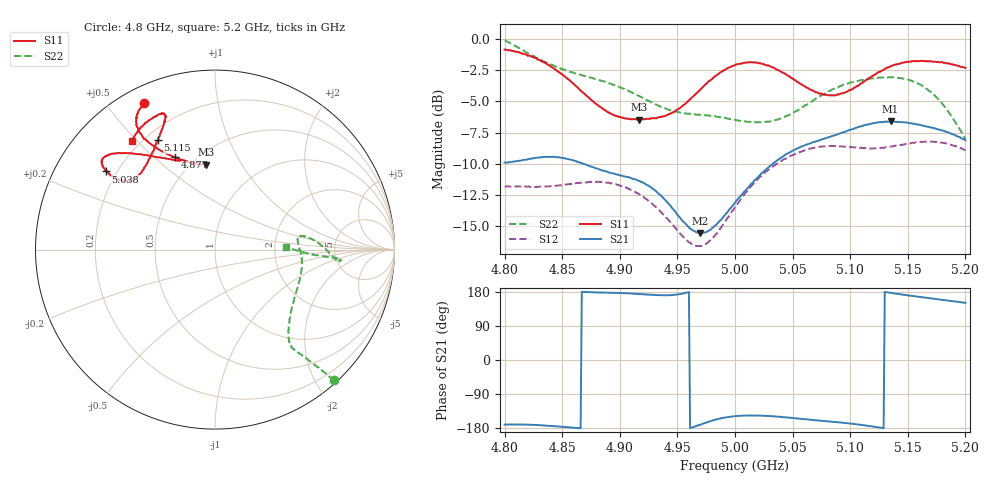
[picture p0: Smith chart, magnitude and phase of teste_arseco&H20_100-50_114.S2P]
! Network Analyzer HP8722D
! Hewlett-Packard
! Data name: Linha & Wilkinson
! Saver's name: Rodrigo Anjos
! Comments: Teste da utilização de aquisição
! continua pelo VNA HP8722D
! Time and date: 6/5/2025 13:31
!  Frequency  S11  S21  S12  S22
# HZ  S  MA R 50
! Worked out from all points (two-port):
!   401 points, 4.8 GHz to 5.2 GHz, reference 50 ohm
!   highest |S21| = -6.60 dB at 5.135 GHz (marker M1); lowest = -15.6 dB at 4.97 GHz (marker M2)
!   |S21| within 3 dB of the highest: 4.822 GHz to 4.854 GHz (31.92 MHz wide, 0.66 % of centre); 5.039 GHz to end of sweep
!   lowest |S11| = -6.5 dB at 4.917 GHz (marker M3), VSWR 2.81, Z = 29.1 + j35.6 ohm
!   |S11| at or under -10 dB: nowhere
!   |S22| runs from -8.0 to -0.1 dB; largest |S21 - S12| = 0.83
!   S11 on the Smith chart (normalised r, x): 4.8 GHz: 0.07, +0.62; 4.877 GHz: 0.39, +0.58; 5.038 GHz: 0.16, +0.31; 5.115 GHz: 0.25, +0.58; 5.2 GHz: 0.17, +0.48
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4.8e9  0.9048 115.9  0.3201 -170.6  0.257 -86.1  0.9843 -47.6
4.832e9  0.8124 122.3  0.3358 -172.4  0.2561 -77.6  0.8215 -49.5
4.847e9  0.7372 122.7  0.3362 -175.7  0.2594 -72.7  0.7664 -50.6
4.867e9  0.6144 117.9  0.3183 179.9  0.2656 -67.4  0.7157 -51.6
4.877e9  0.5609 113.6  0.3062 178.5  0.268 -66.3  0.6942 -51.8
4.901e9  0.4851 100.7  0.2842 176.6  0.258 -66.8  0.6379 -50.0
4.917e9  0.4754 96.2  0.2704 174.1  0.2389 -68.5  0.5893 -45.7
4.934e9  0.4853 99.2  0.2401 171.2  0.2073 -69.5  0.5387 -37.6
4.95e9  0.5212 109.5  0.1978 172.9  0.1713 -65.6  0.5091 -27.0
4.97e9  0.6273 124.0  0.1669 -170.7  0.1487 -46.7  0.4965 -14.4
4.982e9  0.7035 130.5  0.1776 -158.5  0.1623 -33.2  0.4908 -8.2
5e9  0.7863 137.3  0.2212 -148.3  0.2126 -21.5  0.474 -0.4
5.018e9  0.8028 141.7  0.2741 -146.4  0.2695 -18.3  0.4636 5.8
5.038e9  0.7469 144.3  0.3297 -149.6  0.3207 -18.5  0.4776 8.8
5.067e9  0.6224 142.1  0.3852 -158.0  0.3653 -20.6  0.562 4.6
5.087e9  0.5945 133.6  0.4118 -163.8  0.3724 -23.6  0.6344 -1.3
5.115e9  0.6885 117.6  0.4542 -173.5  0.3648 -26.8  0.691 -5.4
5.134e9  0.7704 111.2  0.4654 177.8  0.3696 -28.8  0.7011 -4.9
5.135e9  0.7758 111.1  0.4678 177.3  0.3707 -28.7  0.701 -4.8
5.163e9  0.8141 113.1  0.4494 165.4  0.3872 -35.6  0.6464 -3.7
5.18e9  0.8061 118.9  0.4298 159.0  0.3844 -41.0  0.5496 -3.0
5.2e9  0.7642 127.3  0.3927 150.8  0.3591 -46.3  0.3975 2.4
